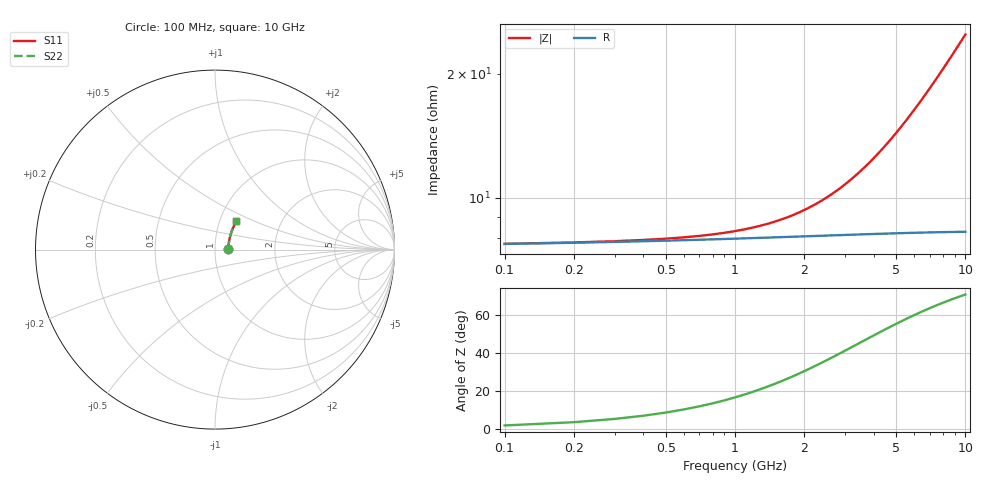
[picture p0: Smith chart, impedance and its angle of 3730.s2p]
# Hz S RI R 50.00
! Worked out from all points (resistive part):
!   100 points, 100 MHz to 10 GHz, reference 50 ohm
!   read as one part in series: R = 7.73 ohm at 100 MHz
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1e8  0.0718 0.00168  0.9282 -0.00238  0.9282 -0.00238  0.0718 0.00168
2e8  0.0722 0.00336  0.9278 -0.00476  0.9278 -0.00476  0.0722 0.00336
7e8  0.0736 0.0117  0.9264 -0.0166  0.9264 -0.0166  0.0736 0.0117
1e9  0.0742 0.0167  0.9258 -0.0237  0.9258 -0.0237  0.0742 0.0167
1.2e9  0.0746 0.02  0.9253 -0.0284  0.9253 -0.0284  0.0746 0.02
1.4e9  0.0751 0.0234  0.9249 -0.0332  0.9249 -0.0332  0.0751 0.0234
1.8e9  0.0759 0.03  0.924 -0.0426  0.924 -0.0426  0.0759 0.03
2.1e9  0.0767 0.035  0.9232 -0.0496  0.9232 -0.0496  0.0767 0.035
2.5e9  0.0777 0.0415  0.9221 -0.059  0.9221 -0.059  0.0777 0.0415
2.9e9  0.0788 0.0481  0.9209 -0.0684  0.9209 -0.0684  0.0788 0.0481
3.4e9  0.0804 0.0563  0.9193 -0.08  0.9193 -0.08  0.0804 0.0563
4.4e9  0.0841 0.0724  0.9154 -0.1032  0.9154 -0.1032  0.0841 0.0724
5.1e9  0.0871 0.0836  0.9122 -0.1193  0.9122 -0.1193  0.0871 0.0836
5.9e9  0.091 0.0962  0.9081 -0.1375  0.9081 -0.1375  0.091 0.0962
6.3e9  0.0931 0.1024  0.9058 -0.1465  0.9058 -0.1465  0.0931 0.1024
6.7e9  0.0954 0.1086  0.9035 -0.1554  0.9035 -0.1554  0.0954 0.1086
7.1e9  0.0977 0.1147  0.901 -0.1644  0.901 -0.1644  0.0977 0.1147
7.5e9  0.1002 0.1207  0.8983 -0.1732  0.8983 -0.1732  0.1002 0.1207
7.9e9  0.1028 0.1267  0.8956 -0.182  0.8956 -0.182  0.1028 0.1267
8.4e9  0.1062 0.1341  0.892 -0.1929  0.892 -0.1929  0.1062 0.1341
9.2e9  0.112 0.1457  0.8858 -0.2101  0.8858 -0.2101  0.112 0.1457
1e10  0.1182 0.157  0.8792 -0.227  0.8792 -0.227  0.1182 0.157
